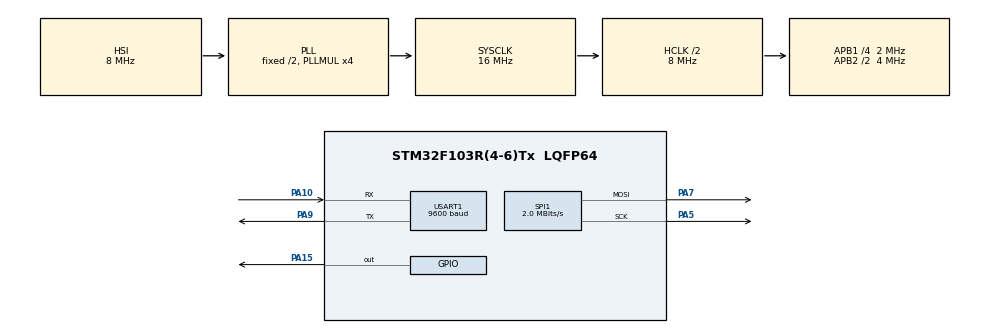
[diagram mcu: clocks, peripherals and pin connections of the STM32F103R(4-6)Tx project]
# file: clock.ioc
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Dma.Request0=SPI1_TX
Dma.Request1=USART1_TX
Dma.SPI1_TX.0.Direction=DMA_MEMORY_TO_PERIPH
Dma.SPI1_TX.0.Instance=DMA1_Channel3
Dma.SPI1_TX.0.MemDataAlignment=DMA_MDATAALIGN_BYTE
Dma.SPI1_TX.0.MemInc=DMA_MINC_ENABLE
Dma.SPI1_TX.0.Mode=DMA_NORMAL
Dma.SPI1_TX.0.PeriphDataAlignment=DMA_PDATAALIGN_BYTE
Dma.SPI1_TX.0.PeriphInc=DMA_PINC_DISABLE
Dma.SPI1_TX.0.Priority=DMA_PRIORITY_LOW
Dma.USART1_TX.1.Direction=DMA_MEMORY_TO_PERIPH
Dma.USART1_TX.1.Instance=DMA1_Channel4
Dma.USART1_TX.1.MemDataAlignment=DMA_MDATAALIGN_BYTE
Dma.USART1_TX.1.MemInc=DMA_MINC_ENABLE
Dma.USART1_TX.1.Mode=DMA_NORMAL
Dma.USART1_TX.1.PeriphDataAlignment=DMA_PDATAALIGN_BYTE
Dma.USART1_TX.1.PeriphInc=DMA_PINC_DISABLE
Dma.USART1_TX.1.Priority=DMA_PRIORITY_MEDIUM
FREERTOS.Tasks01=ClockPrinter,0,128,TaskClock,Default
FREERTOS.configUSE_TIMERS=0
FREERTOS.configUSE_TRACE_FACILITY=0
Mcu.Family=STM32F1
Mcu.Name=STM32F103R(4-6)Tx
Mcu.Package=LQFP64
NVIC.DMA1_Channel3_IRQn=true\:5\:0\:false\:false\:true\:true
NVIC.DMA1_Channel4_IRQn=true\:5\:0\:false\:false\:true\:true
NVIC.PriorityGroup=NVIC_PRIORITYGROUP_4
NVIC.TIM1_UP_IRQn=true\:0\:0\:false\:false\:true\:false
NVIC.TimeBase=TIM1_UP_IRQn
NVIC.TimeBaseIP=TIM1
NVIC.USART1_IRQn=true\:5\:0\:false\:false\:true\:true
PA15.Signal=GPIO_Output
PA10.Mode=Asynchronous
PA10.Signal=USART1_RX
PA5.Mode=TX_Only_Simplex_Unidirect_Master
PA5.Signal=SPI1_SCK
PA7.Mode=TX_Only_Simplex_Unidirect_Master
PA7.Signal=SPI1_MOSI
PA9.Mode=Asynchronous
PA9.Signal=USART1_TX
ProjectManager.HeapSize=0x200
ProjectManager.StackSize=0x400
ProjectManager.TargetToolchain=Other Toolchains (GPDSC)
RCC.AHBCLKDivider=RCC_SYSCLK_DIV2
RCC.AHBFreq_Value=8000000
RCC.APB1CLKDivider=RCC_HCLK_DIV4
RCC.APB1Freq_Value=2000000
RCC.APB1TimFreq_Value=4000000
RCC.APB2CLKDivider=RCC_HCLK_DIV2
RCC.APB2Freq_Value=4000000
RCC.APB2TimFreq_Value=8000000
RCC.HCLKFreq_Value=8000000
RCC.PLLMUL=RCC_PLL_MUL4
RCC.SYSCLKFreq_VALUE=16000000
RCC.SYSCLKSource=RCC_SYSCLKSOURCE_PLLCLK
RCC.USBFreq_Value=16000000
SPI1.BaudRatePrescaler=SPI_BAUDRATEPRESCALER_2
SPI1.CalculateBaudRate=2.0 MBits/s
SPI1.Mode=SPI_MODE_MASTER
USART1.BaudRate=9600
USART1.Mode=UART_MODE_TX_RX
VP_CRC_VS_CRC.Mode=CRC_Activate
VP_FREERTOS_VS_ENABLE.Mode=Enabled
VP_SYS_VS_ND.Mode=No_Debug
VP_SYS_VS_tim1.Mode=TIM1
board=test

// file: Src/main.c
/**
  ******************************************************************************
  * File Name          : main.c
  * Description        : Main program body
  ******************************************************************************
  *
  * COPYRIGHT(c) 2016 STMicroelectronics
  *
  * Redistribution and use in source and binary forms, with or without modification,
  * are permitted provided that the following conditions are met:
  *   1. Redistributions of source code must retain the above copyright notice,
  *      this list of conditions and the following disclaimer.
  *   2. Redistributions in binary form must reproduce the above copyright notice,
  *      this list of conditions and the following disclaimer in the documentation
  *      and/or other materials provided with the distribution.
  *   3. Neither the name of STMicroelectronics nor the names of its contributors
  *      may be used to endorse or promote products derived from this software
  *      without specific prior written permission.
  *
  * THIS SOFTWARE IS PROVIDED BY THE COPYRIGHT HOLDERS AND CONTRIBUTORS "AS IS"
  * AND ANY EXPRESS OR IMPLIED WARRANTIES, INCLUDING, BUT NOT LIMITED TO, THE
  * IMPLIED WARRANTIES OF MERCHANTABILITY AND FITNESS FOR A PARTICULAR PURPOSE ARE
  * DISCLAIMED. IN NO EVENT SHALL THE COPYRIGHT HOLDER OR CONTRIBUTORS BE LIABLE
  * FOR ANY DIRECT, INDIRECT, INCIDENTAL, SPECIAL, EXEMPLARY, OR CONSEQUENTIAL
  * DAMAGES (INCLUDING, BUT NOT LIMITED TO, PROCUREMENT OF SUBSTITUTE GOODS OR
  * SERVICES; LOSS OF USE, DATA, OR PROFITS; OR BUSINESS INTERRUPTION) HOWEVER
  * CAUSED AND ON ANY THEORY OF LIABILITY, WHETHER IN CONTRACT, STRICT LIABILITY,
  * OR TORT (INCLUDING NEGLIGENCE OR OTHERWISE) ARISING IN ANY WAY OUT OF THE USE
  * OF THIS SOFTWARE, EVEN IF ADVISED OF THE POSSIBILITY OF SUCH DAMAGE.
  *
  ******************************************************************************
  */
#include "stm32f1xx_hal.h"
#include "cmsis_os.h"

/* USER CODE BEGIN Includes */
#include "gfx.h"
extern void tft_init(void);
/* USER CODE END Includes */

CRC_HandleTypeDef hcrc;

SPI_HandleTypeDef hspi1;
DMA_HandleTypeDef hdma_spi1_tx;

UART_HandleTypeDef huart1;
DMA_HandleTypeDef hdma_usart1_tx;

osThreadId ClockPrinterHandle;

/* USER CODE BEGIN PV */
static __IO struct DISPLAY_CONTEXT lcd_ctx;
static __IO uint8_t hour;
static __IO uint8_t min;
static __IO uint8_t sec;
static __IO uint8_t msec;
static __IO uint8_t changed;
static __IO uint8_t running;
/* USER CODE END PV */

void SystemClock_Config(void);
void Error_Handler(void);
static void MX_GPIO_Init(void);
static void MX_DMA_Init(void);
static void MX_CRC_Init(void);
static void MX_SPI1_Init(void);
static void MX_USART1_UART_Init(void);
void TaskClock(void const * argument);

/* USER CODE BEGIN PFP */
/* Private function prototypes -----------------------------------------------*/

/* USER CODE END PFP */

/* USER CODE BEGIN 0 */
int strlen(const char* str)
{
  int n = 0;
  for(;str && *str; ++str, ++n);
  return n;
}

void print_string(const char* s)
{
  while(HAL_UART_Transmit_DMA(&huart1, (uint8_t*)s, strlen(s))==HAL_BUSY);
}
/* USER CODE END 0 */

int main(void)
{

  /* USER CODE BEGIN 1 */
  running = 0;

  /* USER CODE END 1 */

  /* MCU Configuration----------------------------------------------------------*/

  /* Reset of all peripherals, Initializes the Flash interface and the Systick. */
  HAL_Init();

  /* Configure the system clock */
  SystemClock_Config();

  /* Initialize all configured peripherals */
  MX_GPIO_Init();
  MX_DMA_Init();
  MX_CRC_Init();
  MX_SPI1_Init();
  MX_USART1_UART_Init();

  /* USER CODE BEGIN 2 */
  init_display_context(&lcd_ctx);
  tft_init();
//  text(&lcd_ctx, "AAA", 2, 1, 0xFF0000);
  /* USER CODE END 2 */

  /* Create the thread(s) */
  /* definition and creation of Display */
  osThreadDef(ClockPrinter, TaskClock, osPriorityNormal, 0, 200);
  ClockPrinterHandle = osThreadCreate(osThread(ClockPrinter), NULL);

  /* Start scheduler */
  osKernelStart();

  /* We should never get here as control is now taken by the scheduler */

  /* Infinite loop */
  while (1)
  {

  }

}

/** System Clock Configuration
*/
void SystemClock_Config(void)
{

  RCC_OscInitTypeDef RCC_OscInitStruct;
  RCC_ClkInitTypeDef RCC_ClkInitStruct;

  RCC_OscInitStruct.OscillatorType = RCC_OSCILLATORTYPE_HSI;
  RCC_OscInitStruct.HSIState = RCC_HSI_ON;
  RCC_OscInitStruct.HSICalibrationValue = 16;
  RCC_OscInitStruct.PLL.PLLState = RCC_PLL_ON;
  RCC_OscInitStruct.PLL.PLLSource = RCC_PLLSOURCE_HSI_DIV2;
  RCC_OscInitStruct.PLL.PLLMUL = RCC_PLL_MUL4;
  if (HAL_RCC_OscConfig(&RCC_OscInitStruct) != HAL_OK)
  {
    Error_Handler();
  }

  RCC_ClkInitStruct.ClockType = RCC_CLOCKTYPE_HCLK|RCC_CLOCKTYPE_SYSCLK
                              |RCC_CLOCKTYPE_PCLK1|RCC_CLOCKTYPE_PCLK2;
  RCC_ClkInitStruct.SYSCLKSource = RCC_SYSCLKSOURCE_PLLCLK;
  RCC_ClkInitStruct.AHBCLKDivider = RCC_SYSCLK_DIV2;
  RCC_ClkInitStruct.APB1CLKDivider = RCC_HCLK_DIV4;
  RCC_ClkInitStruct.APB2CLKDivider = RCC_HCLK_DIV2;
  if (HAL_RCC_ClockConfig(&RCC_ClkInitStruct, FLASH_LATENCY_0) != HAL_OK)
  {
    Error_Handler();
  }

  HAL_SYSTICK_Config(HAL_RCC_GetHCLKFreq()/1000);

  HAL_SYSTICK_CLKSourceConfig(SYSTICK_CLKSOURCE_HCLK);

  /* SysTick_IRQn interrupt configuration */
  HAL_NVIC_SetPriority(SysTick_IRQn, 15, 0);
}

/* CRC init function */
static void MX_CRC_Init(void)
{

  hcrc.Instance = CRC;
  if (HAL_CRC_Init(&hcrc) != HAL_OK)
  {
    Error_Handler();
  }

}

/* SPI1 init function */
static void MX_SPI1_Init(void)
{

  hspi1.Instance = SPI1;
  hspi1.Init.Mode = SPI_MODE_MASTER;
  hspi1.Init.Direction = SPI_DIRECTION_2LINES;
  hspi1.Init.DataSize = SPI_DATASIZE_8BIT;
  hspi1.Init.CLKPolarity = SPI_POLARITY_LOW;
  hspi1.Init.CLKPhase = SPI_PHASE_1EDGE;
  hspi1.Init.NSS = SPI_NSS_SOFT;
  hspi1.Init.BaudRatePrescaler = SPI_BAUDRATEPRESCALER_2;
  hspi1.Init.FirstBit = SPI_FIRSTBIT_MSB;
  hspi1.Init.TIMode = SPI_TIMODE_DISABLE;
  hspi1.Init.CRCCalculation = SPI_CRCCALCULATION_DISABLE;
  hspi1.Init.CRCPolynomial = 10;
  if (HAL_SPI_Init(&hspi1) != HAL_OK)
  {
    Error_Handler();
  }

}

/* USART1 init function */
static void MX_USART1_UART_Init(void)
{

  huart1.Instance = USART1;
  huart1.Init.BaudRate = 9600;
  huart1.Init.WordLength = UART_WORDLENGTH_8B;
  huart1.Init.StopBits = UART_STOPBITS_1;
  huart1.Init.Parity = UART_PARITY_NONE;
  huart1.Init.Mode = UART_MODE_TX_RX;
  huart1.Init.HwFlowCtl = UART_HWCONTROL_NONE;
  huart1.Init.OverSampling = UART_OVERSAMPLING_16;
  if (HAL_UART_Init(&huart1) != HAL_OK)
  {
    Error_Handler();
  }

}

static void MX_DMA_Init(void)
{
  /* DMA controller clock enable */
  __HAL_RCC_DMA1_CLK_ENABLE();

  /* DMA interrupt init */
  /* DMA1_Channel3_IRQn interrupt configuration */
  HAL_NVIC_SetPriority(DMA1_Channel3_IRQn, 5, 0);
  HAL_NVIC_EnableIRQ(DMA1_Channel3_IRQn);
  /* DMA1_Channel4_IRQn interrupt configuration */
  HAL_NVIC_SetPriority(DMA1_Channel4_IRQn, 5, 0);
  HAL_NVIC_EnableIRQ(DMA1_Channel4_IRQn);

}

/** Configure pins as
        * Analog
        * Input
        * Output
        * EVENT_OUT
        * EXTI
        * Free pins are configured automatically as Analog (this feature is enabled through
        * the Code Generation settings)
*/
static void MX_GPIO_Init(void)
{

  GPIO_InitTypeDef GPIO_InitStruct;

  /* GPIO Ports Clock Enable */
  __HAL_RCC_GPIOC_CLK_ENABLE();
  __HAL_RCC_GPIOD_CLK_ENABLE();
  __HAL_RCC_GPIOA_CLK_ENABLE();
  __HAL_RCC_GPIOB_CLK_ENABLE();

  /*Configure GPIO pins : PC13 PC14 PC15 PC0
                           PC1 PC2 PC3 PC4
                           PC5 PC6 PC7 PC8
                           PC9 PC10 PC11 PC12 */
  GPIO_InitStruct.Pin = GPIO_PIN_13|GPIO_PIN_14|GPIO_PIN_15|GPIO_PIN_0
                          |GPIO_PIN_1|GPIO_PIN_2|GPIO_PIN_3|GPIO_PIN_4
                          |GPIO_PIN_5|GPIO_PIN_6|GPIO_PIN_7|GPIO_PIN_8
                          |GPIO_PIN_9|GPIO_PIN_10|GPIO_PIN_11|GPIO_PIN_12;
  GPIO_InitStruct.Mode = GPIO_MODE_ANALOG;
  HAL_GPIO_Init(GPIOC, &GPIO_InitStruct);

  /*Configure GPIO pins : PD0 PD1 PD2 */
  GPIO_InitStruct.Pin = GPIO_PIN_0|GPIO_PIN_1|GPIO_PIN_2;
  GPIO_InitStruct.Mode = GPIO_MODE_ANALOG;
  HAL_GPIO_Init(GPIOD, &GPIO_InitStruct);

  /*Configure GPIO pins : PA0 PA1 PA2 PA3 PA4
                           PA6 PA8 PA11 PA12
                           PA13 PA14 PA15 */
  GPIO_InitStruct.Pin = GPIO_PIN_0|GPIO_PIN_1|GPIO_PIN_2|GPIO_PIN_3|GPIO_PIN_4
                          |GPIO_PIN_6|GPIO_PIN_8|GPIO_PIN_11|GPIO_PIN_12
                          |GPIO_PIN_13|GPIO_PIN_14;
  GPIO_InitStruct.Mode = GPIO_MODE_ANALOG;
  HAL_GPIO_Init(GPIOA, &GPIO_InitStruct);

  /*Configure GPIO pin : PA15 */
  GPIO_InitStruct.Pin = GPIO_PIN_15;
  GPIO_InitStruct.Mode = GPIO_MODE_OUTPUT_PP;
  GPIO_InitStruct.Speed = GPIO_SPEED_FREQ_LOW;
  HAL_GPIO_Init(GPIOA, &GPIO_InitStruct);

  /*Configure GPIO pins : PB0 PB1 PB2 PB10
                           PB11 PB12 PB13 PB14
                           PB15 PB3 PB4 PB5
                           PB6 PB7 PB8 PB9 */
  GPIO_InitStruct.Pin = GPIO_PIN_0|GPIO_PIN_1|GPIO_PIN_2|GPIO_PIN_10
                          |GPIO_PIN_11|GPIO_PIN_12|GPIO_PIN_13|GPIO_PIN_14
                          |GPIO_PIN_15|GPIO_PIN_3|GPIO_PIN_4|GPIO_PIN_5
                          |GPIO_PIN_6|GPIO_PIN_7|GPIO_PIN_8|GPIO_PIN_9;
  GPIO_InitStruct.Mode = GPIO_MODE_ANALOG;
  HAL_GPIO_Init(GPIOB, &GPIO_InitStruct);

  /*Configure peripheral I/O remapping */
  __HAL_AFIO_REMAP_PD01_ENABLE();

  /*Configure GPIO pin Output Level */
  HAL_GPIO_WritePin(GPIOA, GPIO_PIN_15, GPIO_PIN_RESET);

}

/* USER CODE BEGIN 4 */
const char* itoa(int16_t v, char* txt, int sz, int mindig)
{
  if (v)
  {
    int8_t isneg = v < 0 ? 1 : 0;
    char* s = &txt[sz-1];
    *s = 0;
    s--;
    for(;v;v/=10)
    {
      uint8_t res = v%10;
      *s = res + '0';
      s--;
      mindig--;
    }
    for(int i=0; i<mindig; i++)
    {
      *s = '0';
      --s;
    }
    if (isneg)
    {
      *s = '-';
      s--;
    }
    return s+1;
  }
  else
  {
    for(int i=0; i<mindig; i++)
      txt[i] = '0';
    txt[mindig] = 0;
  }
  return txt;
}
/* USER CODE END 4 */

/* TaskClock function */
void TaskClock(void const * argument)
{
  /* USER CODE BEGIN 5 */
  hour = 0;
  min = 0;
  sec = 0;
  msec = 0;

  uint8_t hour_input = 0;
  uint8_t min_input = 0;
  uint8_t sec_input = 0;

  line(3,3,3,LCD_HEIGHT-3, 0x505050);
  line(3,LCD_HEIGHT-3,LCD_WIDTH-3,LCD_HEIGHT-3, 0x505050);
  line(LCD_WIDTH-3,LCD_HEIGHT-3,LCD_WIDTH-3,3, 0x505050);
  line(LCD_WIDTH-3,3,3,3, 0x505050);
  print_string("Enter time (h:m:s): ");

  const char* str = "Clock on FreeRTOS";
  struct SIZE sz = get_text_size(&lcd_ctx, str);
  text(&lcd_ctx, str, (LCD_WIDTH - sz.cx)/2, 45, 0x0FAA7F);

  sz = get_text_size(&lcd_ctx, "00:00:00.0");
  uint8_t xhour = (LCD_WIDTH - sz.cx)/2;
  uint8_t y = (LCD_HEIGHT - sz.cy)/2;
  text(&lcd_ctx, "00", xhour, y, 0xFF0000);
  text(&lcd_ctx, ":", -1, -1, 0x00AF00);
  uint8_t xmin = lcd_ctx.x;
  text(&lcd_ctx, "00", -1, -1, 0x0000FF);
  text(&lcd_ctx, ":", -1, -1, 0x00AF00);
  uint8_t xsec = lcd_ctx.x;
  text(&lcd_ctx, "00", -1, -1, 0xFF00FF);
  text(&lcd_ctx, ".", -1, -1, 0x00AF00);
  uint8_t xmsec = lcd_ctx.x;
  text(&lcd_ctx, "0", -1, -1, 0xFF008F);

  changed = 0;
  running = 1;
  uint8_t stage = 0;

  #define VC_ENTER  13

  /* Infinite loop */
  for(;;)
  {
    uint8_t dt;
    if (HAL_UART_Receive(&huart1, &dt, 1, 10) == HAL_OK)
    {
      if (dt>='0' && dt<='9')
      {
        running = 0;      // user input suspends the clock
        switch(stage)
        {
          case 0: hour_input = hour_input*10 + dt-'0'; break;
          case 1: min_input = min_input*10 + dt-'0'; break;
          case 2: sec_input = sec_input*10 + dt-'0'; break;
        }
      }
      else
      if (dt==':')
      { stage = (stage+1)%3;
        switch(stage)
        {
          case 0: hour_input = 0; break;
          case 1: min_input = 0; break;
          case 2: sec_input = 0; break;
        }
      }
      else
      if(dt == VC_ENTER)
      {
        msec = 0;
        hour = hour_input > 23 ? 23 : hour_input;
        min = min_input > 59 ? 59 : min_input;
        sec = sec_input > 59 ? 59 : sec_input;
        hour_input = 0;
        min_input = 0;
        sec_input = 0;
        changed = 0xF;
        stage = 0;
        running = 1;
        print_string("Clock is set and running. ");
        print_string("Enter time (h:m:s): ");
      }
    }
    if (changed)
    { char txt[6];
      if (changed&8)
      { changed &= ~8;
        text(&lcd_ctx, itoa(hour, txt, 6, 2), xhour, -1, 0xFF0000);
      }
      //text(&lcd_ctx, ":", -1, -1, 0x00FF00);
      if (changed&4)
      { changed &= ~4;
        text(&lcd_ctx, itoa(min, txt, 6, 2), xmin, -1, 0x0000FF);
      }
      //text(&lcd_ctx, ":", -1, -1, 0x00FF00);
      if (changed&2)
      { changed &= ~2;
        text(&lcd_ctx, itoa(sec, txt, 6, 2), xsec, -1, 0xFF00FF);
      }
      if (changed&1)
      { changed &= ~1;
        text(&lcd_ctx, itoa(msec, txt, 6, 1), xmsec, -1, 0xFF008F);
      }
    }
  }
  /* USER CODE END 5 */
}

void HAL_TIM_PeriodElapsedCallback(TIM_HandleTypeDef *htim)
{
  if (htim->Instance == TIM1) {
    HAL_IncTick();
    if (!running)
      return;
    if ((HAL_GetTick() % 100) == 0)
    {
      msec++;
      changed |= 1;
      if (msec==10)
      { msec = 0;
        sec++;
        changed |= 2;
        if (sec==60)
        {
          sec = 0;
          min++;
          changed |= 4;
          if (min==60)
          {
            min = 0;
            hour++;
            changed |= 8;
          }
        }
      }
    }
  }
}

void Error_Handler(void)
{
  while(1)
  {
  }
}

/************************ (C) COPYRIGHT STMicroelectronics *****END OF FILE****/
